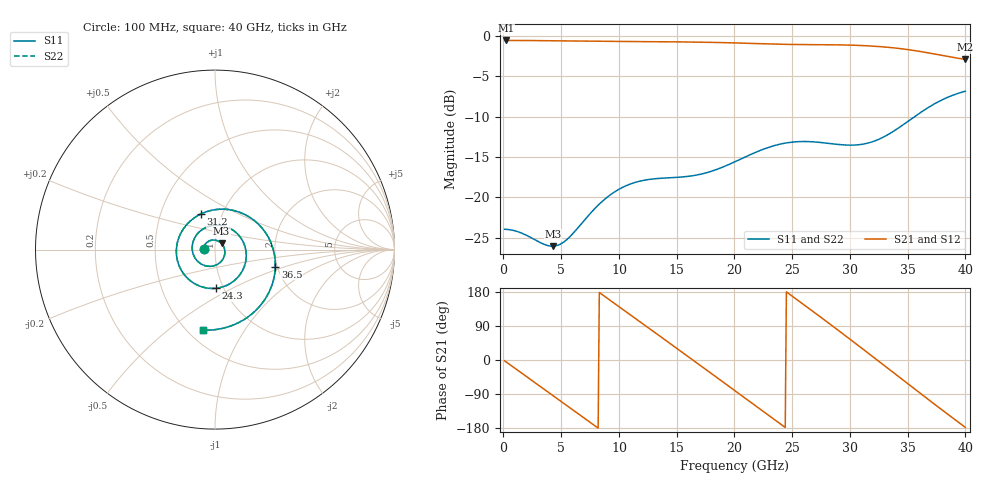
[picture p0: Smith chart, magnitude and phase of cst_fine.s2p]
! A_s4_d200_ap800: L1→L4 through L2/L3, drill Ø0.2, antipad Ø0.8, 4 GND vias at 1 mm
! stackup: 4-layer 1.6 mm FR-4
! ports: 1, 2
! CST Studio Suite 2025.5 Release from 2025-05-30, time domain (FIT, hexahedral, PBA), 339264 mesh cells, 47 s
! mesh: {'lpw': 30.0, 'lpb': 30.0, 'minstep': 0.0, 'ratio': 20}; ports: port 1 (face); port 2 (face)
! interpolated from CST's 1001 samples to the case grid
# Hz S RI R 50
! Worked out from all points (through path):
!   400 points, 100 MHz to 40 GHz, reference 50 ohm
!   highest |S21| = -0.57 dB at 200 MHz (marker M1); lowest = -2.9 dB at 40 GHz (marker M2)
!   group delay of S21, straight-line fit = 62.2 ps
!   lowest |S11| = -26.1 dB at 4.3 GHz (marker M3), VSWR 1.10, Z = 53.6 + j3.66 ohm
!   |S11| at or under -10 dB: start of sweep to 35.62 GHz
!   |S22| runs from -26.1 to -6.9 dB; largest |S21 - S12| = 4.1e-07
!   S11 on the Smith chart (normalised r, x): 100 MHz: 0.88, +0.01; 24.3 GHz: 0.92, -0.41; 31.2 GHz: 0.79, +0.33; 36.5 GHz: 1.95, -0.42; 40 GHz: 0.59, -0.67
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1e8  -0.0632 0.00295  0.9361 -0.0359  0.9361 -0.0359  -0.0632 0.00295
2e8  -0.0629 0.00589  0.9341 -0.0717  0.9341 -0.0717  -0.0629 0.00589
2.5e9  -0.0179 0.0526  0.5385 -0.7649  0.5385 -0.7649  -0.0179 0.0526
4.3e9  0.0362 0.034  -0.0704 -0.9304  -0.0704 -0.9304  0.0362 0.034
6.8e9  0.0436 -0.0537  -0.7967 -0.477  -0.7967 -0.477  0.0436 -0.0537
9.6e9  -0.0638 -0.0866  -0.7968 0.4668  -0.7968 0.4668  -0.0638 -0.0866
1.16e10  -0.1232 -0.0189  -0.2511 0.8863  -0.2511 0.8863  -0.1232 -0.0189
1.34e10  -0.1142 0.0634  0.3705 0.8419  0.3705 0.8419  -0.1142 0.0634
1.52e10  -0.0543 0.1214  0.8214 0.4097  0.8214 0.4097  -0.0543 0.1214
1.67e10  0.0168 0.136  0.9088 -0.1071  0.9088 -0.1071  0.0168 0.136
1.86e10  0.1115 0.1  0.5978 -0.6859  0.5978 -0.6859  0.1115 0.1
2.01e10  0.1649 0.0234  0.1211 -0.8961  0.1211 -0.8961  0.1649 0.0233
2.2e10  0.1555 -0.1123  -0.5086 -0.7373  -0.5086 -0.7373  0.1555 -0.1123
2.43e10  0.00314 -0.2157  -0.8841 -0.0651  -0.8841 -0.0651  0.00311 -0.2157
2.67e10  -0.1792 -0.1287  -0.5726 0.6713  -0.5726 0.6713  -0.1793 -0.1286
2.89e10  -0.2055 0.0547  0.1469 0.8676  0.1469 0.8676  -0.2055 0.0547
3.12e10  -0.0776 0.199  0.7747 0.3966  0.7747 0.3966  -0.0776 0.1991
3.34e10  0.1276 0.2111  0.7721 -0.3518  0.7721 -0.3518  0.1276 0.2111
3.5e10  0.2758 0.1026  0.3835 -0.7279  0.3835 -0.7279  0.2758 0.1025
3.65e10  0.336 -0.0944  -0.1026 -0.7845  -0.1026 -0.7845  0.336 -0.0944
3.83e10  0.2137 -0.3513  -0.5665 -0.4901  -0.5665 -0.4901  0.2137 -0.3513
4e10  -0.0686 -0.4487  -0.7149 -0.0256  -0.7149 -0.0256  -0.0686 -0.4487
